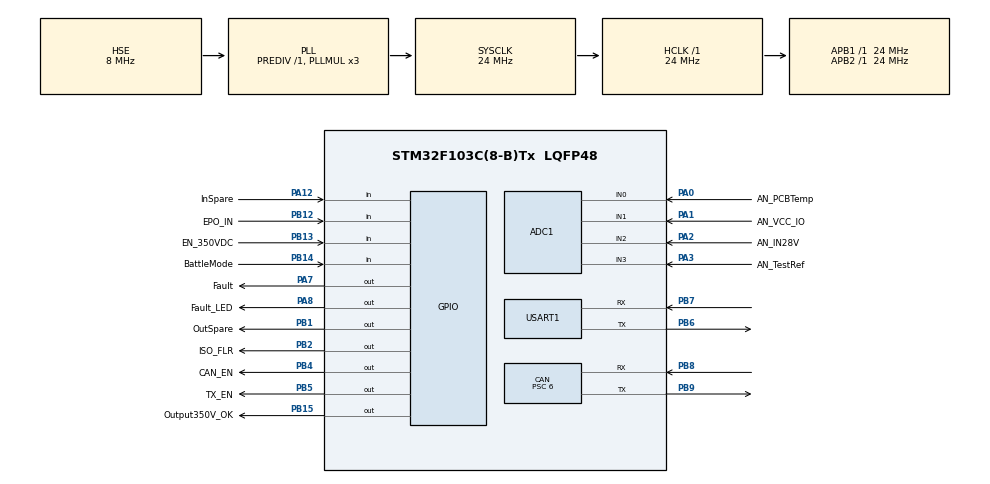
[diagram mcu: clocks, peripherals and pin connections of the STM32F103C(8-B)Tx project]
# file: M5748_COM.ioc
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ADC1.Channel-0\#ChannelRegularConversion=ADC_CHANNEL_0
ADC1.NbrOfConversionFlag=1
ADC1.Rank-0\#ChannelRegularConversion=1
ADC1.SamplingTime-0\#ChannelRegularConversion=ADC_SAMPLETIME_1CYCLE_5
ADC1.master=1
CAN.ABOM=DISABLE
CAN.BS1=CAN_BS1_13TQ
CAN.BS2=CAN_BS2_2TQ
CAN.CalculateBaudRate=250000
CAN.CalculateTimeBit=4000
CAN.CalculateTimeQuantum=250.0
CAN.Mode=CAN_MODE_NORMAL
CAN.NART=ENABLE
CAN.Prescaler=6
Dma.Request0=USART1_RX
Dma.Request1=USART1_TX
Dma.USART1_RX.0.Direction=DMA_PERIPH_TO_MEMORY
Dma.USART1_RX.0.Instance=DMA1_Channel5
Dma.USART1_RX.0.MemDataAlignment=DMA_MDATAALIGN_BYTE
Dma.USART1_RX.0.MemInc=DMA_MINC_ENABLE
Dma.USART1_RX.0.Mode=DMA_CIRCULAR
Dma.USART1_RX.0.PeriphDataAlignment=DMA_PDATAALIGN_BYTE
Dma.USART1_RX.0.PeriphInc=DMA_PINC_DISABLE
Dma.USART1_RX.0.Priority=DMA_PRIORITY_LOW
Dma.USART1_TX.1.Direction=DMA_MEMORY_TO_PERIPH
Dma.USART1_TX.1.Instance=DMA1_Channel4
Dma.USART1_TX.1.MemDataAlignment=DMA_MDATAALIGN_BYTE
Dma.USART1_TX.1.MemInc=DMA_MINC_ENABLE
Dma.USART1_TX.1.Mode=DMA_NORMAL
Dma.USART1_TX.1.PeriphDataAlignment=DMA_PDATAALIGN_BYTE
Dma.USART1_TX.1.PeriphInc=DMA_PINC_DISABLE
Dma.USART1_TX.1.Priority=DMA_PRIORITY_LOW
Mcu.Family=STM32F1
Mcu.Name=STM32F103C(8-B)Tx
Mcu.Package=LQFP48
NVIC.DMA1_Channel4_IRQn=true\:0\:0\:false\:false\:true\:false\:true\:true
NVIC.DMA1_Channel5_IRQn=true\:0\:0\:false\:false\:true\:false\:true\:true
NVIC.PriorityGroup=NVIC_PRIORITYGROUP_4
NVIC.USART1_IRQn=true\:0\:0\:false\:false\:true\:true\:true\:true
PA0-WKUP.GPIO_Label=AN_PCBTemp
PA0-WKUP.Signal=ADCx_IN0
PA1.GPIO_Label=AN_VCC_IO
PA1.Signal=ADCx_IN1
PA12.GPIO_Label=InSpare
PA12.Signal=GPIO_Input
PA13.Mode=Serial_Wire
PA13.Signal=SYS_JTMS-SWDIO
PA14.Mode=Serial_Wire
PA14.Signal=SYS_JTCK-SWCLK
PA2.GPIO_Label=AN_IN28V
PA2.Signal=ADCx_IN2
PA3.GPIO_Label=AN_TestRef
PA3.Signal=ADCx_IN3
PA7.GPIO_Label=Fault
PA7.Signal=GPIO_Output
PA8.GPIO_Label=Fault_LED
PA8.Signal=GPIO_Output
PB1.GPIO_Label=OutSpare
PB1.Signal=GPIO_Output
PB12.GPIO_Label=EPO_IN
PB12.Signal=GPIO_Input
PB13.GPIO_Label=EN_350VDC
PB13.Signal=GPIO_Input
PB14.GPIO_Label=BattleMode
PB14.Signal=GPIO_Input
PB15.GPIO_Label=Output350V_OK
PB15.Signal=GPIO_Output
PB2.GPIO_Label=ISO_FLR
PB2.Signal=GPIO_Output
PB4.GPIO_Label=CAN_EN
PB4.GPIO_PuPd=GPIO_NOPULL
PB4.Signal=GPIO_Output
PB5.GPIO_Label=TX_EN
PB5.Signal=GPIO_Output
PB6.Mode=Asynchronous
PB6.Signal=USART1_TX
PB7.Mode=Asynchronous
PB7.Signal=USART1_RX
PB8.GPIO_PuPd=GPIO_NOPULL
PB8.Mode=CAN_Activate
PB8.Signal=CAN_RX
PB9.Mode=CAN_Activate
PB9.Signal=CAN_TX
PD0-OSC_IN.Mode=HSE-External-Oscillator
PD0-OSC_IN.Signal=RCC_OSC_IN
PD1-OSC_OUT.Mode=HSE-External-Oscillator
PD1-OSC_OUT.Signal=RCC_OSC_OUT
ProjectManager.HeapSize=0x200
ProjectManager.StackSize=0x400
ProjectManager.TargetToolchain=STM32CubeIDE
RCC.AHBFreq_Value=24000000
RCC.APB1Freq_Value=24000000
RCC.APB1TimFreq_Value=24000000
RCC.APB2Freq_Value=24000000
RCC.APB2TimFreq_Value=24000000
RCC.HCLKFreq_Value=24000000
RCC.PLLMUL=RCC_PLL_MUL3
RCC.PLLSourceVirtual=RCC_PLLSOURCE_HSE
RCC.SYSCLKFreq_VALUE=24000000
RCC.SYSCLKSource=RCC_SYSCLKSOURCE_PLLCLK
RCC.USBFreq_Value=24000000
SH.ADCx_IN0.0=ADC1_IN0,IN0
SH.ADCx_IN1.0=ADC1_IN1,IN1
SH.ADCx_IN2.0=ADC1_IN2,IN2
SH.ADCx_IN3.0=ADC1_IN3,IN3
TIM2.Period=5000
TIM2.Prescaler=24
USART1.VirtualMode=VM_ASYNC
VP_TIM2_VS_ClockSourceINT.Mode=Internal
board=custom

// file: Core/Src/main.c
/* USER CODE BEGIN Header */
/**
  ******************************************************************************
  * @file           : main.c
  * @brief          : Main program body
  ******************************************************************************
  * @attention
  *
  * Copyright (c) 2026 STMicroelectronics.
  * All rights reserved.
  *
  * This software is licensed under terms that can be found in the LICENSE file
  * in the root directory of this software component.
  * If no LICENSE file comes with this software, it is provided AS-IS.
  *
  ******************************************************************************
  */
/* USER CODE END Header */
#include "main.h"

/* USER CODE BEGIN Includes */
#include "general.h"
#include "RowIO.h"
#include "IO.h"
#include "IntUart.h"
#include "Mgmt.h"
#include "IntUartDataLink.h"
#include "IntComm.h"

#include "CAN/Open_SAE_J1939/Open_SAE_J1939.h"
//#include "flash_if.h"

//Changes in auto generated code:
//3. stm32f1xx_hal_uart.c file, HAL_UART_IRQHandler function Add "dmarequest = 0;" after
//   dmarequest = HAL_IS.... line. This change disable uart RX errors from stoping DMA reception.

//changes to support BootLoader
//1. system_stm32f1xx.c file: uncomment "#define USER_VECT_TAB_ADDRESS"
//2. system_stm32f1xx.c file: change VECT_TAB_OFFSET to 0x2000
//3. linker configuration: vector table: 0x08002000; ROM start: 0x08002000; ROM end: 0x0801FFFF
// note: the ROM size defined in linker configuration should be in acordance with flash_if.h constants

/* USER CODE END Includes */

ADC_HandleTypeDef hadc1;

CAN_HandleTypeDef hcan;

TIM_HandleTypeDef htim2;

UART_HandleTypeDef huart1;
DMA_HandleTypeDef hdma_usart1_rx;
DMA_HandleTypeDef hdma_usart1_tx;

/* USER CODE BEGIN PV */
J1939 j1939 = {0};
/* USER CODE END PV */

void SystemClock_Config(void);
static void MX_GPIO_Init(void);
static void MX_DMA_Init(void);
static void MX_ADC1_Init(void);
static void MX_USART1_UART_Init(void);
static void MX_TIM2_Init(void);
static void MX_CAN_Init(void);

/* USER CODE BEGIN 0 */

static void GPIO_Init(void)
{
  GPIO_InitTypeDef GPIO_InitStruct = {0};

  /* GPIO Ports Clock Enable */
  __HAL_RCC_GPIOD_CLK_ENABLE();
  __HAL_RCC_GPIOA_CLK_ENABLE();
  __HAL_RCC_GPIOB_CLK_ENABLE();

  /*Configure GPIO pin Output Level */
  HAL_GPIO_WritePin(GPIOA, Fault_LED_Pin, GPIO_PIN_RESET);

  /*Configure GPIO pins : Fault_Pin Fault_LED_Pin */
  GPIO_InitStruct.Pin = Fault_LED_Pin;
  GPIO_InitStruct.Mode = GPIO_MODE_OUTPUT_PP;
  GPIO_InitStruct.Pull = GPIO_NOPULL;
  GPIO_InitStruct.Speed = GPIO_SPEED_FREQ_LOW;
  HAL_GPIO_Init(GPIOA, &GPIO_InitStruct);

/* USER CODE BEGIN MX_GPIO_Init_2 */
/* USER CODE END MX_GPIO_Init_2 */
}

/* USER CODE END 0 */

int main(void)
{

  /* MCU Configuration--------------------------------------------------------*/

  /* Reset of all peripherals, Initializes the Flash interface and the Systick. */
  HAL_Init();

  /* Configure the system clock */
  SystemClock_Config();

  /* Initiali64-9516-1023000ze all configured peripherals */
  MX_GPIO_Init();
  MX_DMA_Init();
  MX_ADC1_Init();
  MX_USART1_UART_Init();
  MX_TIM2_Init();
  MX_CAN_Init();
  /* USER CODE BEGIN 2 */
  GPIO_Init();
#warning "for B10 only"
  uart_Enable(0);
  HAL_GPIO_WritePin(CAN_EN_GPIO_Port, CAN_EN_Pin, SET);

  mgmtInit();
  HAL_TIM_Base_Start(&htim2);

  HAL_CAN_Start(&hcan);

  //HAL_CAN_ActivateNotification(&hcan, CAN_IT_RX_FIFO0_MSG_PENDING);

   Open_SAE_J1939_Startup_ECU(&j1939);

j1939.debug_hold_no_resume = 0;
j1939.debug_hold_after_dt = 0;

  /* Infinite loop */
  /* USER CODE BEGIN WHILE */
  while (1)
  {

      CAN_Poll_Task();

    if (__HAL_TIM_GET_FLAG(&htim2, TIM_FLAG_UPDATE))
    {
      __HAL_TIM_CLEAR_FLAG(&htim2, TIM_FLAG_UPDATE);
     // TP_LED1(b100mS_gate);

      updateTimingVar();
      SAE_J1939_TP_Timeout_Task(&j1939); // Timeout Handler
     // SendPeriodicProp_B();
      readDigitalInputs();
      readAnalogInputs();
      debounceDigitalInputs();
      filterAnalogInputs();

      intUart_Handle();
      Command_Handler(); //check if a new telemetry received and decode it
      managment();
      outputsUpate();

      Telemetry_Handler();
      writeDigitalOutputs();

    }

    /* USER CODE END WHILE */

  }
}

void SystemClock_Config(void)
{
  RCC_OscInitTypeDef RCC_OscInitStruct = {0};
  RCC_ClkInitTypeDef RCC_ClkInitStruct = {0};
  RCC_PeriphCLKInitTypeDef PeriphClkInit = {0};

  /** Initializes the RCC Oscillators according to the specified parameters
  * in the RCC_OscInitTypeDef structure.
  */
  RCC_OscInitStruct.OscillatorType = RCC_OSCILLATORTYPE_HSE;
  RCC_OscInitStruct.HSEState = RCC_HSE_ON;
  RCC_OscInitStruct.HSEPredivValue = RCC_HSE_PREDIV_DIV1;
  RCC_OscInitStruct.HSIState = RCC_HSI_ON;
  RCC_OscInitStruct.PLL.PLLState = RCC_PLL_ON;
  RCC_OscInitStruct.PLL.PLLSource = RCC_PLLSOURCE_HSE;
  RCC_OscInitStruct.PLL.PLLMUL = RCC_PLL_MUL3;
  if (HAL_RCC_OscConfig(&RCC_OscInitStruct) != HAL_OK)
  {
    Error_Handler();
  }

  /** Initializes the CPU, AHB and APB buses clocks
  */
  RCC_ClkInitStruct.ClockType = RCC_CLOCKTYPE_HCLK|RCC_CLOCKTYPE_SYSCLK
                              |RCC_CLOCKTYPE_PCLK1|RCC_CLOCKTYPE_PCLK2;
  RCC_ClkInitStruct.SYSCLKSource = RCC_SYSCLKSOURCE_PLLCLK;
  RCC_ClkInitStruct.AHBCLKDivider = RCC_SYSCLK_DIV1;
  RCC_ClkInitStruct.APB1CLKDivider = RCC_HCLK_DIV1;
  RCC_ClkInitStruct.APB2CLKDivider = RCC_HCLK_DIV1;

  if (HAL_RCC_ClockConfig(&RCC_ClkInitStruct, FLASH_LATENCY_0) != HAL_OK)
  {
    Error_Handler();
  }
  PeriphClkInit.PeriphClockSelection = RCC_PERIPHCLK_ADC;
  PeriphClkInit.AdcClockSelection = RCC_ADCPCLK2_DIV2;
  if (HAL_RCCEx_PeriphCLKConfig(&PeriphClkInit) != HAL_OK)
  {
    Error_Handler();
  }
}

static void MX_ADC1_Init(void)
{

  ADC_ChannelConfTypeDef sConfig = {0};

  /** Common config
  */
  hadc1.Instance = ADC1;
  hadc1.Init.ScanConvMode = ADC_SCAN_DISABLE;
  hadc1.Init.ContinuousConvMode = DISABLE;
  hadc1.Init.DiscontinuousConvMode = DISABLE;
  hadc1.Init.ExternalTrigConv = ADC_SOFTWARE_START;
  hadc1.Init.DataAlign = ADC_DATAALIGN_RIGHT;
  hadc1.Init.NbrOfConversion = 1;
  if (HAL_ADC_Init(&hadc1) != HAL_OK)
  {
    Error_Handler();
  }

  /** Configure Regular Channel
  */
  sConfig.Channel = ADC_CHANNEL_0;
  sConfig.Rank = ADC_REGULAR_RANK_1;
  sConfig.SamplingTime = ADC_SAMPLETIME_1CYCLE_5;
  if (HAL_ADC_ConfigChannel(&hadc1, &sConfig) != HAL_OK)
  {
    Error_Handler();
  }

}

static void MX_CAN_Init(void)
{

  hcan.Instance = CAN1;
  hcan.Init.Prescaler = 6;
  hcan.Init.Mode = CAN_MODE_NORMAL;
  hcan.Init.SyncJumpWidth = CAN_SJW_1TQ;
  hcan.Init.TimeSeg1 = CAN_BS1_13TQ;
  hcan.Init.TimeSeg2 = CAN_BS2_2TQ;
  hcan.Init.TimeTriggeredMode = DISABLE;
  hcan.Init.AutoBusOff = DISABLE;
  hcan.Init.AutoWakeUp = DISABLE;
  hcan.Init.AutoRetransmission = ENABLE;
  hcan.Init.ReceiveFifoLocked = DISABLE;
  hcan.Init.TransmitFifoPriority = DISABLE;
  if (HAL_CAN_Init(&hcan) != HAL_OK)
  {
    Error_Handler();
  }
  /* USER CODE BEGIN CAN_Init 2 */
  CAN_FilterTypeDef canfilterconfig;

  canfilterconfig.FilterActivation = CAN_FILTER_ENABLE;
  canfilterconfig.FilterBank = 10;  // which filter bank to use from the assigned ones
  canfilterconfig.FilterFIFOAssignment = CAN_FILTER_FIFO0;
  canfilterconfig.FilterIdHigh = 0;//0x18Ef<<15;
  canfilterconfig.FilterIdLow = 0;
  canfilterconfig.FilterMaskIdHigh =0; //00x18Ef<<15;
  canfilterconfig.FilterMaskIdLow = 0;
  canfilterconfig.FilterMode = CAN_FILTERMODE_IDMASK;
  canfilterconfig.FilterScale = CAN_FILTERSCALE_32BIT;
  canfilterconfig.SlaveStartFilterBank = 0;  // only 1 CAN - useless

  HAL_CAN_ConfigFilter(&hcan, &canfilterconfig);
  /* USER CODE END CAN_Init 2 */

}

static void MX_TIM2_Init(void)
{

  TIM_ClockConfigTypeDef sClockSourceConfig = {0};
  TIM_MasterConfigTypeDef sMasterConfig = {0};

  htim2.Instance = TIM2;
  htim2.Init.Prescaler = 24;
  htim2.Init.CounterMode = TIM_COUNTERMODE_UP;
  htim2.Init.Period = 5000;
  htim2.Init.ClockDivision = TIM_CLOCKDIVISION_DIV1;
  htim2.Init.AutoReloadPreload = TIM_AUTORELOAD_PRELOAD_DISABLE;
  if (HAL_TIM_Base_Init(&htim2) != HAL_OK)
  {
    Error_Handler();
  }
  sClockSourceConfig.ClockSource = TIM_CLOCKSOURCE_INTERNAL;
  if (HAL_TIM_ConfigClockSource(&htim2, &sClockSourceConfig) != HAL_OK)
  {
    Error_Handler();
  }
  sMasterConfig.MasterOutputTrigger = TIM_TRGO_RESET;
  sMasterConfig.MasterSlaveMode = TIM_MASTERSLAVEMODE_DISABLE;
  if (HAL_TIMEx_MasterConfigSynchronization(&htim2, &sMasterConfig) != HAL_OK)
  {
    Error_Handler();
  }

}

static void MX_USART1_UART_Init(void)
{

  huart1.Instance = USART1;
  huart1.Init.BaudRate = 115200;
  huart1.Init.WordLength = UART_WORDLENGTH_8B;
  huart1.Init.StopBits = UART_STOPBITS_1;
  huart1.Init.Parity = UART_PARITY_NONE;
  huart1.Init.Mode = UART_MODE_TX_RX;
  huart1.Init.HwFlowCtl = UART_HWCONTROL_NONE;
  huart1.Init.OverSampling = UART_OVERSAMPLING_16;
  if (HAL_UART_Init(&huart1) != HAL_OK)
  {
    Error_Handler();
  }

}

static void MX_DMA_Init(void)
{

  /* DMA controller clock enable */
  __HAL_RCC_DMA1_CLK_ENABLE();

  /* DMA interrupt init */
  /* DMA1_Channel4_IRQn interrupt configuration */
  HAL_NVIC_SetPriority(DMA1_Channel4_IRQn, 0, 0);
  HAL_NVIC_EnableIRQ(DMA1_Channel4_IRQn);
  /* DMA1_Channel5_IRQn interrupt configuration */
  HAL_NVIC_SetPriority(DMA1_Channel5_IRQn, 0, 0);
  HAL_NVIC_EnableIRQ(DMA1_Channel5_IRQn);

}

static void MX_GPIO_Init(void)
{
  GPIO_InitTypeDef GPIO_InitStruct = {0};

  /* GPIO Ports Clock Enable */
  __HAL_RCC_GPIOD_CLK_ENABLE();
  __HAL_RCC_GPIOA_CLK_ENABLE();
  __HAL_RCC_GPIOB_CLK_ENABLE();

  /*Configure GPIO pin Output Level */
  HAL_GPIO_WritePin(GPIOA, Fault_Pin|Fault_LED_Pin, GPIO_PIN_RESET);

  /*Configure GPIO pin Output Level */
  HAL_GPIO_WritePin(GPIOB, OutSpare_Pin|ISO_FLR_Pin|Output350V_OK_Pin|CAN_EN_Pin
                          |TX_EN_Pin, GPIO_PIN_RESET);

  /*Configure GPIO pins : Fault_Pin Fault_LED_Pin */
  GPIO_InitStruct.Pin = Fault_Pin|Fault_LED_Pin;
  GPIO_InitStruct.Mode = GPIO_MODE_OUTPUT_PP;
  GPIO_InitStruct.Pull = GPIO_NOPULL;
  GPIO_InitStruct.Speed = GPIO_SPEED_FREQ_LOW;
  HAL_GPIO_Init(GPIOA, &GPIO_InitStruct);

  /*Configure GPIO pins : OutSpare_Pin ISO_FLR_Pin Output350V_OK_Pin CAN_EN_Pin
                           TX_EN_Pin */
  GPIO_InitStruct.Pin = OutSpare_Pin|ISO_FLR_Pin|Output350V_OK_Pin|CAN_EN_Pin
                          |TX_EN_Pin;
  GPIO_InitStruct.Mode = GPIO_MODE_OUTPUT_PP;
  GPIO_InitStruct.Pull = GPIO_NOPULL;
  GPIO_InitStruct.Speed = GPIO_SPEED_FREQ_LOW;
  HAL_GPIO_Init(GPIOB, &GPIO_InitStruct);

  /*Configure GPIO pins : EPO_IN_Pin EN_350VDC_Pin BattleMode_Pin */
  GPIO_InitStruct.Pin = EPO_IN_Pin|EN_350VDC_Pin|BattleMode_Pin;
  GPIO_InitStruct.Mode = GPIO_MODE_INPUT;
  GPIO_InitStruct.Pull = GPIO_NOPULL;
  HAL_GPIO_Init(GPIOB, &GPIO_InitStruct);

  /*Configure GPIO pin : InSpare_Pin */
  GPIO_InitStruct.Pin = InSpare_Pin;
  GPIO_InitStruct.Mode = GPIO_MODE_INPUT;
  GPIO_InitStruct.Pull = GPIO_NOPULL;
  HAL_GPIO_Init(InSpare_GPIO_Port, &GPIO_InitStruct);

}

void Error_Handler(void)
{
  __disable_irq();
  while (1)
  {
  }
}
